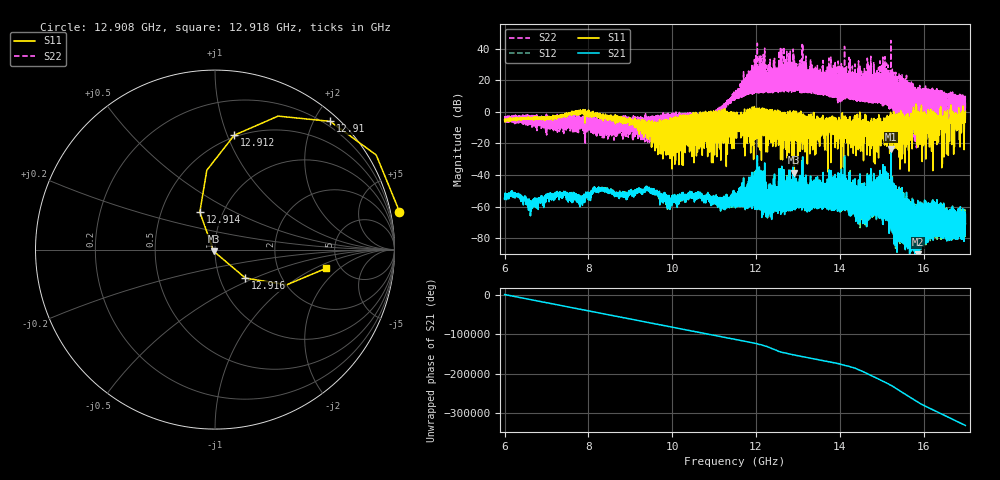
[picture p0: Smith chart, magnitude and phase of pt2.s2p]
#  HZ  S  RI  R  50.00
! Rohde & Schwarz Vector Network Analyzer
! Rohde-Schwarz,ZNA67-2Port,1332450062101215,3.01
! Created: UTC 10/15/2026, 12:06:44 PM
! freq[Hz]  re:S11  im:S11  re:S21  im:S21  re:S12  im:S12  re:S22  im:S22
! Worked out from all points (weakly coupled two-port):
!   11001 points, 6 GHz to 17 GHz, reference 50 ohm
!   highest |S21| = -23.50 dB at 15.22 GHz (marker M1); lowest = -92.4 dB at 15.868 GHz (marker M2)
!   lowest |S11| = -38.5 dB at 12.915 GHz (marker M3), VSWR 1.02, Z = 49.3 - j0.951 ohm
!   |S11| at or under -10 dB: 13.63506 GHz to 13.6497 GHz (14.65 MHz wide, 0.107 % of centre); 14.07906 GHz to 14.09354 GHz (14.48 MHz wide, 0.103 % of centre); 14.78671 GHz to 14.80166 GHz (14.95 MHz wide, 0.101 % of centre) (the widest 3 of 577)
!   |S22| runs from -22.7 to 45.1 dB; largest |S21 - S12| = 0.0038
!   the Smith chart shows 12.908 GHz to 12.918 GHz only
!   S11 on the Smith chart (normalised r, x): 12.908 GHz: -2.21, +9.28; 12.91 GHz: 0.12, +2.24; 12.912 GHz: 0.48, +1.06; 12.914 GHz: 0.78, +0.34; 12.916 GHz: 1.32, -0.44; 12.918 GHz: 3.85, -1.33
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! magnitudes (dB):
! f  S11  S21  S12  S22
! 6 GHz  -5.0  -54.4  -54.3  -5.5
! 6.624 GHz  -4.0  -62.6  -62.7  -3.2
! 7.26 GHz  -2.8  -51.2  -51.1  -10.8
! 7.834 GHz  -0.5  -56.5  -56.3  -7.5
! 8.299 GHz  -2.0  -48.3  -48.1  -12.6
! 9.667 GHz  -8.0  -52.4  -52.6  -3.4
! 9.938 GHz  -23.9  -59.0  -59.2  -2.4
! 10.833 GHz  -3.3  -54.7  -54.5  -2.7
! 11.5 GHz  -3.7  -55.7  -56.1  9.6
! 12.908 GHz  0.4  -59.5  -59.6  13.0
! 12.91 GHz  -0.4  -58.8  -58.7  15.4
! 12.912 GHz  -3.8  -49.4  -48.9  26.0
! 12.914 GHz  -12.9  -57.9  -58.2  16.6
! 12.915 GHz  -38.5  -56.7  -56.3  17.9
! 12.916 GHz  -12.7  -51.1  -51.4  22.7
! 12.918 GHz  -4.1  -54.1  -53.9  19.9
! 13.334 GHz  -15.0  -59.6  -59.7  15.6
! 15.167 GHz  -12.9  -68.3  -67.9  5.2
! 15.22 GHz  -6.1  -23.5  -23.1  45.1
! 15.868 GHz  -8.6  -92.4  -92.0  -21.6
! 16.571 GHz  0.8  -76.7  -75.9  -1.5
! 17 GHz  0.4  -71.2  -70.9  1.8
